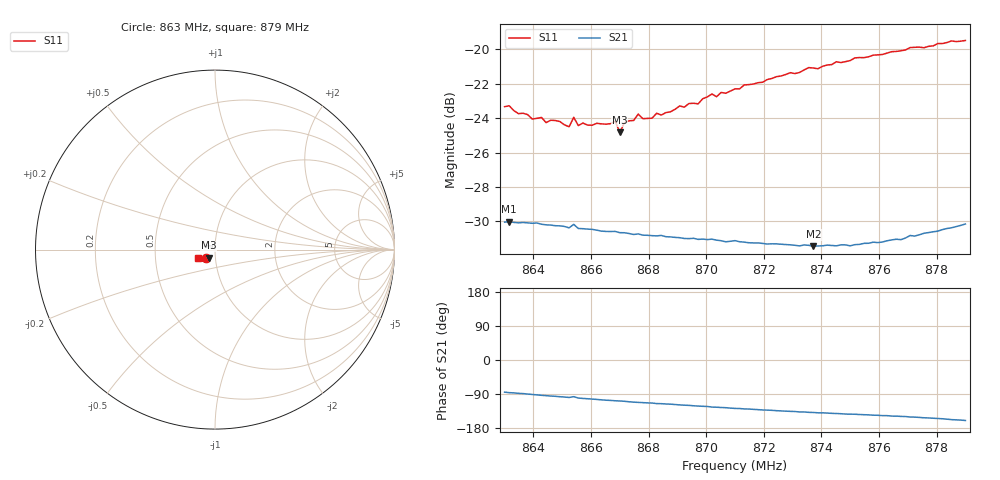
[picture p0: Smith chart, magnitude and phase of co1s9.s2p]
# HZ S RI R 50
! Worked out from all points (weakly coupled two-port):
!   101 points, 863 MHz to 879 MHz, reference 50 ohm
!   highest |S21| = -30.01 dB at 863.16 MHz (marker M1); lowest = -31.4 dB at 873.72 MHz (marker M2)
!   lowest |S11| = -24.8 dB at 867 MHz (marker M3), VSWR 1.12, Z = 46.4 - j4.19 ohm
!   |S11| at or under -10 dB: start of sweep to end of sweep
!   S12 and S22 are empty: the file has one direction only
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8.63e8  -0.0485 -0.0479  0.00286 -0.0314  0 0  0 0
8.6316e8  -0.0485 -0.0485  0.00213 -0.0315  0 0  0 0
8.6348e8  -0.0451 -0.0469  0.00112 -0.0313  0 0  0 0
8.6396e8  -0.042 -0.0466  -0.00052 -0.0312  0 0  0 0
8.6428e8  -0.0413 -0.0481  -0.00171 -0.031  0 0  0 0
8.6444e8  -0.0409 -0.0457  -0.00221 -0.0308  0 0  0 0
8.6476e8  -0.0415 -0.0463  -0.00309 -0.0306  0 0  0 0
8.6524e8  -0.0376 -0.0463  -0.00467 -0.0299  0 0  0 0
8.654e8  -0.0393 -0.0499  -0.00366 -0.0308  0 0  0 0
8.6556e8  -0.0371 -0.0472  -0.00543 -0.0297  0 0  0 0
8.6572e8  -0.0368 -0.0488  -0.00596 -0.0295  0 0  0 0
8.6684e8  -0.0353 -0.0508  -0.00895 -0.0282  0 0  0 0
8.67e8  -0.0355 -0.045  -0.00914 -0.0279  0 0  0 0
8.6716e8  -0.0333 -0.0513  -0.00952 -0.0277  0 0  0 0
8.6748e8  -0.0333 -0.0525  -0.0105 -0.027  0 0  0 0
8.6764e8  -0.0346 -0.0549  -0.0108 -0.027  0 0  0 0
8.678e8  -0.0337 -0.0531  -0.011 -0.0267  0 0  0 0
8.6844e8  -0.034 -0.0548  -0.0123 -0.0261  0 0  0 0
8.71e8  -0.0424 -0.064  -0.017 -0.022  0 0  0 0
8.7372e8  -0.0572 -0.0673  -0.0201 -0.0178  0 0  0 0
8.7644e8  -0.0781 -0.0599  -0.0237 -0.0148  0 0  0 0
8.79e8  -0.0961 -0.0452  -0.0292 -0.0108  0 0  0 0
